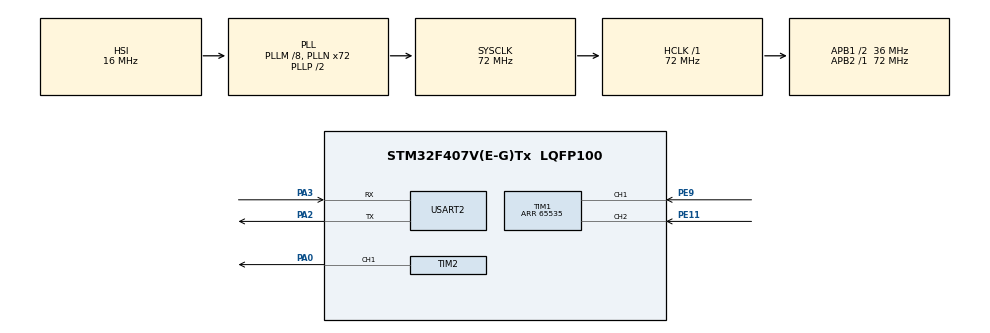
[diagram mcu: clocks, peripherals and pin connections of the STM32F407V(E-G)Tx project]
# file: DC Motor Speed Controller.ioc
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Mcu.Family=STM32F4
Mcu.Name=STM32F407V(E-G)Tx
Mcu.Package=LQFP100
NVIC.PriorityGroup=NVIC_PRIORITYGROUP_4
NVIC.TIM2_IRQn=true\:0\:0\:false\:false\:true\:true
PA0-WKUP.Signal=S_TIM2_CH1_ETR
PA13.Mode=Serial_Wire
PA13.Signal=SYS_JTMS-SWDIO
PA14.Mode=Serial_Wire
PA14.Signal=SYS_JTCK-SWCLK
PA2.Mode=Asynchronous
PA2.Signal=USART2_TX
PA3.Mode=Asynchronous
PA3.Signal=USART2_RX
PE11.Signal=S_TIM1_CH2
PE9.Signal=S_TIM1_CH1
PH0-OSC_IN.Mode=HSE-External-Oscillator
PH0-OSC_IN.Signal=RCC_OSC_IN
PH1-OSC_OUT.Mode=HSE-External-Oscillator
PH1-OSC_OUT.Signal=RCC_OSC_OUT
ProjectManager.HeapSize=0x200
ProjectManager.StackSize=0x400
ProjectManager.TargetToolchain=MDK-ARM V5
RCC.48MHZClocksFreq_Value=36000000
RCC.AHBFreq_Value=72000000
RCC.APB1CLKDivider=RCC_HCLK_DIV2
RCC.APB1Freq_Value=36000000
RCC.APB1TimFreq_Value=72000000
RCC.APB2Freq_Value=72000000
RCC.APB2TimFreq_Value=72000000
RCC.CortexFreq_Value=72000000
RCC.HCLKFreq_Value=72000000
RCC.HSE_VALUE=25000000
RCC.HSI_VALUE=16000000
RCC.LSE_VALUE=32768
RCC.PLLM=8
RCC.PLLN=72
RCC.SYSCLKFreq_VALUE=72000000
RCC.SYSCLKSource=RCC_SYSCLKSOURCE_PLLCLK
RCC.VCOOutputFreq_Value=144000000
SH.S_TIM1_CH1.0=TIM1_CH1,Encoder_Interface
SH.S_TIM1_CH2.0=TIM1_CH2,Encoder_Interface
SH.S_TIM2_CH1_ETR.0=TIM2_CH1,PWM Generation1 CH1
TIM1.EncoderMode=TIM_ENCODERMODE_TI12
TIM1.Period=65535
TIM2.Channel-PWM\ Generation1\ CH1=TIM_CHANNEL_1
TIM2.Period=999
TIM2.Prescaler=1439
USART2.VirtualMode=VM_ASYNC
VP_TIM2_VS_ClockSourceINT.Mode=Internal
board=custom

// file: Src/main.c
/**
  ******************************************************************************
  * @file           : main.c
  * @brief          : Main program body
  ******************************************************************************
  ** This notice applies to any and all portions of this file
  * that are not between comment pairs USER CODE BEGIN and
  * USER CODE END. Other portions of this file, whether
  * inserted by the user or by software development tools
  * are owned by their respective copyright owners.
  *
  * COPYRIGHT(c) 2022 STMicroelectronics
  *
  * Redistribution and use in source and binary forms, with or without modification,
  * are permitted provided that the following conditions are met:
  *   1. Redistributions of source code must retain the above copyright notice,
  *      this list of conditions and the following disclaimer.
  *   2. Redistributions in binary form must reproduce the above copyright notice,
  *      this list of conditions and the following disclaimer in the documentation
  *      and/or other materials provided with the distribution.
  *   3. Neither the name of STMicroelectronics nor the names of its contributors
  *      may be used to endorse or promote products derived from this software
  *      without specific prior written permission.
  *
  * THIS SOFTWARE IS PROVIDED BY THE COPYRIGHT HOLDERS AND CONTRIBUTORS "AS IS"
  * AND ANY EXPRESS OR IMPLIED WARRANTIES, INCLUDING, BUT NOT LIMITED TO, THE
  * IMPLIED WARRANTIES OF MERCHANTABILITY AND FITNESS FOR A PARTICULAR PURPOSE ARE
  * DISCLAIMED. IN NO EVENT SHALL THE COPYRIGHT HOLDER OR CONTRIBUTORS BE LIABLE
  * FOR ANY DIRECT, INDIRECT, INCIDENTAL, SPECIAL, EXEMPLARY, OR CONSEQUENTIAL
  * DAMAGES (INCLUDING, BUT NOT LIMITED TO, PROCUREMENT OF SUBSTITUTE GOODS OR
  * SERVICES; LOSS OF USE, DATA, OR PROFITS; OR BUSINESS INTERRUPTION) HOWEVER
  * CAUSED AND ON ANY THEORY OF LIABILITY, WHETHER IN CONTRACT, STRICT LIABILITY,
  * OR TORT (INCLUDING NEGLIGENCE OR OTHERWISE) ARISING IN ANY WAY OUT OF THE USE
  * OF THIS SOFTWARE, EVEN IF ADVISED OF THE POSSIBILITY OF SUCH DAMAGE.
  *
  ******************************************************************************
  */
#include "main.h"
#include "stm32f4xx_hal.h"

TIM_HandleTypeDef htim1;
TIM_HandleTypeDef htim2;

UART_HandleTypeDef huart2;

/* USER CODE BEGIN PV */
/* Private variables ---------------------------------------------------------*/
unsigned short encoder_cnt = 0;
unsigned short encoder_cnt_last = 0;

unsigned short V_thuc = 0;
unsigned short T = 100;
unsigned short V_dat = 300; // V_max = 2300 rpm;

float Kp = 0.017;
float Kd = 0.08;
float Ki = 0;
float E = 0, E1 = 0, E2 = 0;

unsigned short output = 0, last_output = 0;
unsigned short last_time = 0;
/* USER CODE END PV */

void SystemClock_Config(void);
static void MX_GPIO_Init(void);
static void MX_TIM1_Init(void);
static void MX_TIM2_Init(void);
static void MX_USART2_UART_Init(void);
void print(char *tx_data);
void print_number(int a);
void HAL_TIM_MspPostInit(TIM_HandleTypeDef *htim);

/* USER CODE BEGIN PFP */
/* Private function prototypes -----------------------------------------------*/

/* USER CODE END PFP */

int main(void)
{

  /* MCU Configuration----------------------------------------------------------*/

  /* Reset of all peripherals, Initializes the Flash interface and the Systick. */
  HAL_Init();

  /* Configure the system clock */
  SystemClock_Config();

  /* Initialize all configured peripherals */
  MX_GPIO_Init();
  MX_TIM1_Init();
  MX_TIM2_Init();
  MX_USART2_UART_Init();
  /* USER CODE BEGIN 2 */
	HAL_TIM_PWM(&htim2, TIM_CHANNEL_1);
	HAL_TIM_Encoder_Start(&htim1, TIM_CHANNEL_1 | TIM_CHANNEL_2);
	htim2.Instance -> CCR1 = 0;

	last_time = HAL_GetTick();

  /* USER CODE END 2 */

  /* Infinite loop */
  while (1)
  {

  /* USER CODE BEGIN 3 */
		if(HAL_GetTick() - last_time >= T){
			last_time = HAL_GetTick();
			encoder_cnt = __HAL_TIM_GET_COUNTER(&htim1);
			__HAL_TIM_SET_COUNTER(&htim1, 0);
			V_thuc = (encoder_cnt)*(1000/T) * 60 /400;
			E = V_dat - V_thuc;
			float a = 2*T*Kp + Ki*T*T + 2*Kd;
			float b = T*T*Ki - 4*Kd - 2*T*Kp;
			float c = 2*Kd;
			unsigned short output = (a*E + b*E1 + c*E2 + 2*T*last_output)/(2*T);
			last_output = output;
			E1 = E;
			E2 = E1;
			if(output > 999)output = 999;
			else if(output < 0) output = 0;
			htim2.Instance -> CCR1 = output;
			print("\ntoc do hien tai: ");
			print_number(V_thuc);
			print(", toc do dat: ");
			print_number(V_dat);
		}
  }
  /* USER CODE END 3 */

}

void SystemClock_Config(void)
{

  RCC_OscInitTypeDef RCC_OscInitStruct;
  RCC_ClkInitTypeDef RCC_ClkInitStruct;

    /**Configure the main internal regulator output voltage
    */
  __HAL_RCC_PWR_CLK_ENABLE();

  __HAL_PWR_VOLTAGESCALING_CONFIG(PWR_REGULATOR_VOLTAGE_SCALE1);

    /**Initializes the CPU, AHB and APB busses clocks
    */
  RCC_OscInitStruct.OscillatorType = RCC_OSCILLATORTYPE_HSI;
  RCC_OscInitStruct.HSIState = RCC_HSI_ON;
  RCC_OscInitStruct.HSICalibrationValue = 16;
  RCC_OscInitStruct.PLL.PLLState = RCC_PLL_ON;
  RCC_OscInitStruct.PLL.PLLSource = RCC_PLLSOURCE_HSI;
  RCC_OscInitStruct.PLL.PLLM = 8;
  RCC_OscInitStruct.PLL.PLLN = 72;
  RCC_OscInitStruct.PLL.PLLP = RCC_PLLP_DIV2;
  RCC_OscInitStruct.PLL.PLLQ = 4;
  if (HAL_RCC_OscConfig(&RCC_OscInitStruct) != HAL_OK)
  {
    _Error_Handler(__FILE__, __LINE__);
  }

    /**Initializes the CPU, AHB and APB busses clocks
    */
  RCC_ClkInitStruct.ClockType = RCC_CLOCKTYPE_HCLK|RCC_CLOCKTYPE_SYSCLK
                              |RCC_CLOCKTYPE_PCLK1|RCC_CLOCKTYPE_PCLK2;
  RCC_ClkInitStruct.SYSCLKSource = RCC_SYSCLKSOURCE_PLLCLK;
  RCC_ClkInitStruct.AHBCLKDivider = RCC_SYSCLK_DIV1;
  RCC_ClkInitStruct.APB1CLKDivider = RCC_HCLK_DIV2;
  RCC_ClkInitStruct.APB2CLKDivider = RCC_HCLK_DIV1;

  if (HAL_RCC_ClockConfig(&RCC_ClkInitStruct, FLASH_LATENCY_2) != HAL_OK)
  {
    _Error_Handler(__FILE__, __LINE__);
  }

    /**Configure the Systick interrupt time
    */
  HAL_SYSTICK_Config(HAL_RCC_GetHCLKFreq()/1000);

    /**Configure the Systick
    */
  HAL_SYSTICK_CLKSourceConfig(SYSTICK_CLKSOURCE_HCLK);

  /* SysTick_IRQn interrupt configuration */
  HAL_NVIC_SetPriority(SysTick_IRQn, 0, 0);
}

/* TIM1 init function */
static void MX_TIM1_Init(void)
{

  TIM_Encoder_InitTypeDef sConfig;
  TIM_MasterConfigTypeDef sMasterConfig;

  htim1.Instance = TIM1;
  htim1.Init.Prescaler = 0;
  htim1.Init.CounterMode = TIM_COUNTERMODE_UP;
  htim1.Init.Period = 65535;
  htim1.Init.ClockDivision = TIM_CLOCKDIVISION_DIV1;
  htim1.Init.RepetitionCounter = 0;
  sConfig.EncoderMode = TIM_ENCODERMODE_TI12;
  sConfig.IC1Polarity = TIM_ICPOLARITY_RISING;
  sConfig.IC1Selection = TIM_ICSELECTION_DIRECTTI;
  sConfig.IC1Prescaler = TIM_ICPSC_DIV1;
  sConfig.IC1Filter = 0;
  sConfig.IC2Polarity = TIM_ICPOLARITY_RISING;
  sConfig.IC2Selection = TIM_ICSELECTION_DIRECTTI;
  sConfig.IC2Prescaler = TIM_ICPSC_DIV1;
  sConfig.IC2Filter = 0;
  if (HAL_TIM_Encoder_Init(&htim1, &sConfig) != HAL_OK)
  {
    _Error_Handler(__FILE__, __LINE__);
  }

  sMasterConfig.MasterOutputTrigger = TIM_TRGO_RESET;
  sMasterConfig.MasterSlaveMode = TIM_MASTERSLAVEMODE_DISABLE;
  if (HAL_TIMEx_MasterConfigSynchronization(&htim1, &sMasterConfig) != HAL_OK)
  {
    _Error_Handler(__FILE__, __LINE__);
  }

}

/* TIM2 init function */
static void MX_TIM2_Init(void)
{

  TIM_ClockConfigTypeDef sClockSourceConfig;
  TIM_MasterConfigTypeDef sMasterConfig;
  TIM_OC_InitTypeDef sConfigOC;

  htim2.Instance = TIM2;
  htim2.Init.Prescaler = 1439;
  htim2.Init.CounterMode = TIM_COUNTERMODE_UP;
  htim2.Init.Period = 999;
  htim2.Init.ClockDivision = TIM_CLOCKDIVISION_DIV1;
  if (HAL_TIM_Base_Init(&htim2) != HAL_OK)
  {
    _Error_Handler(__FILE__, __LINE__);
  }

  sClockSourceConfig.ClockSource = TIM_CLOCKSOURCE_INTERNAL;
  if (HAL_TIM_ConfigClockSource(&htim2, &sClockSourceConfig) != HAL_OK)
  {
    _Error_Handler(__FILE__, __LINE__);
  }

  if (HAL_TIM_PWM_Init(&htim2) != HAL_OK)
  {
    _Error_Handler(__FILE__, __LINE__);
  }

  sMasterConfig.MasterOutputTrigger = TIM_TRGO_RESET;
  sMasterConfig.MasterSlaveMode = TIM_MASTERSLAVEMODE_DISABLE;
  if (HAL_TIMEx_MasterConfigSynchronization(&htim2, &sMasterConfig) != HAL_OK)
  {
    _Error_Handler(__FILE__, __LINE__);
  }

  sConfigOC.OCMode = TIM_OCMODE_PWM1;
  sConfigOC.Pulse = 0;
  sConfigOC.OCPolarity = TIM_OCPOLARITY_HIGH;
  sConfigOC.OCFastMode = TIM_OCFAST_DISABLE;
  if (HAL_TIM_PWM_ConfigChannel(&htim2, &sConfigOC, TIM_CHANNEL_1) != HAL_OK)
  {
    _Error_Handler(__FILE__, __LINE__);
  }

  HAL_TIM_MspPostInit(&htim2);

}

/* USART2 init function */
static void MX_USART2_UART_Init(void)
{

  huart2.Instance = USART2;
  huart2.Init.BaudRate = 115200;
  huart2.Init.WordLength = UART_WORDLENGTH_8B;
  huart2.Init.StopBits = UART_STOPBITS_1;
  huart2.Init.Parity = UART_PARITY_NONE;
  huart2.Init.Mode = UART_MODE_TX_RX;
  huart2.Init.HwFlowCtl = UART_HWCONTROL_NONE;
  huart2.Init.OverSampling = UART_OVERSAMPLING_16;
  if (HAL_UART_Init(&huart2) != HAL_OK)
  {
    _Error_Handler(__FILE__, __LINE__);
  }

}

/** Configure pins as
        * Analog
        * Input
        * Output
        * EVENT_OUT
        * EXTI
*/
static void MX_GPIO_Init(void)
{

  /* GPIO Ports Clock Enable */
  __HAL_RCC_GPIOH_CLK_ENABLE();
  __HAL_RCC_GPIOA_CLK_ENABLE();
  __HAL_RCC_GPIOE_CLK_ENABLE();

}

/* USER CODE BEGIN 4 */
void print(char *tx_data){
	while(*tx_data != '\0'){
		HAL_UART_Transmit(&huart2, (uint8_t*)tx_data, sizeof(*tx_data),1000);
		tx_data++;
	}
}

void print_number(int a){
  char str[10];
	sprintf(str,"%d",a);
	print(str);
}

/* USER CODE END 4 */

void _Error_Handler(char *file, int line)
{
  while(1)
  {
  }
}

/************************ (C) COPYRIGHT STMicroelectronics *****END OF FILE****/
